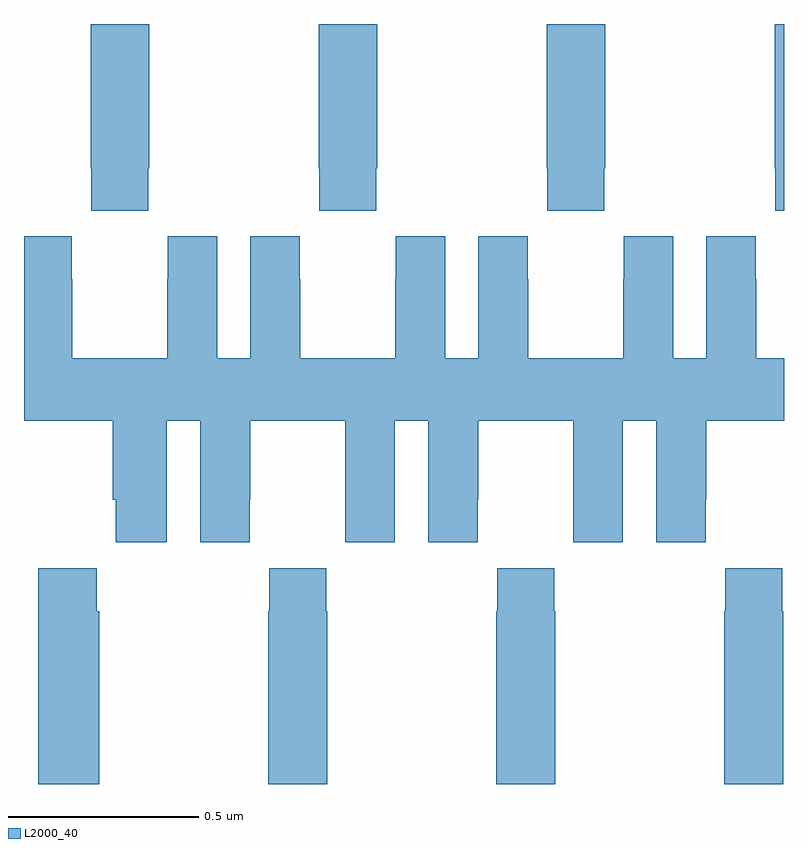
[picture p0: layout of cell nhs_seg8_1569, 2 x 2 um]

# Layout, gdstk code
import gdstk
lib = gdstk.Library(unit=1e-6, precision=1e-09)
def P(c, l, *ps):  # polygons
    for p in ps: c.add(gdstk.Polygon(p, *l))
L2000_40 = (2000, 40)

nhs_seg8_1569 = lib.new_cell('nhs_seg8_1569')
P(nhs_seg8_1569, L2000_40, [(132.327,1094.521),(132.33,1094.521),(132.33,1094.9),(132.175,1094.9),(132.175,1094.521),(132.177,1094.521),(132.177,1094.409),(132.327,1094.409)],
  [(132.927,1094.521),(132.93,1094.521),(132.93,1094.9),(132.775,1094.9),(132.775,1094.521),(132.777,1094.521),(132.777,1094.409),(132.927,1094.409)],
  [(133.527,1094.521),(133.53,1094.521),(133.53,1094.9),(133.375,1094.9),(133.375,1094.521),(133.377,1094.521),(133.377,1094.409),(133.527,1094.409)],
  [(134,1094.9),(133.975,1094.9),(133.975,1094.521),(133.977,1094.521),(133.977,1094.409),(134,1094.409)],
  [(132.376,1093.856),(132.464,1093.856),(132.464,1093.536),(132.594,1093.536),(132.594,1093.648),(132.595,1093.648),(132.595,1093.856),(132.845,1093.856),(132.845,1093.648),(132.846,1093.648),(132.846,1093.536),(132.976,1093.536),(132.976,1093.856),(133.064,1093.856),(133.064,1093.536),(133.194,1093.536),(133.194,1093.648),(133.195,1093.648),(133.195,1093.856),(133.445,1093.856),(133.445,1093.648),(133.446,1093.648),(133.446,1093.536),(133.576,1093.536),(133.576,1093.856),(133.664,1093.856),(133.664,1093.536),(133.794,1093.536),(133.794,1093.648),(133.795,1093.648),(133.795,1093.856),(134,1093.856),(134,1094.02),(133.927,1094.02),(133.927,1094.228),(133.926,1094.228),(133.926,1094.341),(133.796,1094.341),(133.796,1094.02),(133.708,1094.02),(133.708,1094.341),(133.578,1094.341),(133.578,1094.228),(133.577,1094.228),(133.577,1094.02),(133.327,1094.02),(133.327,1094.228),(133.326,1094.228),(133.326,1094.341),(133.196,1094.341),(133.196,1094.02),(133.108,1094.02),(133.108,1094.341),(132.978,1094.341),(132.978,1094.228),(132.977,1094.228),(132.977,1094.02),(132.727,1094.02),(132.727,1094.228),(132.726,1094.228),(132.726,1094.341),(132.596,1094.341),(132.596,1094.02),(132.508,1094.02),(132.508,1094.341),(132.378,1094.341),(132.378,1094.228),(132.377,1094.228),(132.377,1094.02),(132.127,1094.02),(132.127,1094.228),(132.126,1094.228),(132.126,1094.341),(132,1094.341),(132,1093.856),(132.233,1093.856),(132.233,1093.648),(132.242,1093.648),(132.242,1093.536),(132.376,1093.536)],
  [(132.798,1093.355),(132.795,1093.355),(132.795,1093.468),(132.645,1093.468),(132.645,1093.355),(132.643,1093.355),(132.643,1092.9),(132.798,1092.9)],
  [(133.998,1093.355),(133.995,1093.355),(133.995,1093.468),(133.845,1093.468),(133.845,1093.355),(133.843,1093.355),(133.843,1092.9),(133.998,1092.9)],
  [(133.398,1093.355),(133.395,1093.355),(133.395,1093.468),(133.245,1093.468),(133.245,1093.355),(133.243,1093.355),(133.243,1092.9),(133.398,1092.9)],
  [(132.198,1093.355),(132.191,1093.355),(132.191,1093.468),(132.038,1093.468),(132.038,1092.9),(132.198,1092.9)])

lib.write_gds('nhs_seg8_1569.gds')
